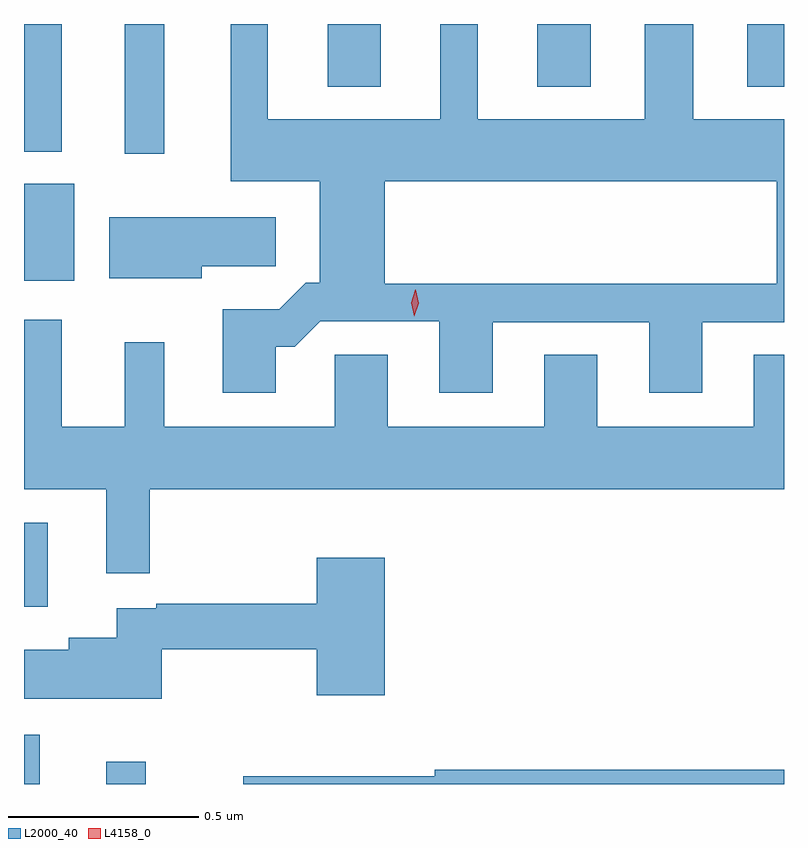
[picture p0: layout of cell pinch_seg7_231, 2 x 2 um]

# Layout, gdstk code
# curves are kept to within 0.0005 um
import gdstk
lib = gdstk.Library(unit=1e-6, precision=1e-09)
def R(c, l, rs):  # rectangles x0, y0, x1, y1
    for r in rs: c.add(gdstk.rectangle(r[:2], r[2:], *l))
def P(c, l, *ps):  # polygons
    for p in ps: c.add(gdstk.Polygon(p, *l))
L2000_40 = (2000, 40)
L4158_0 = (4158, 0)

pinch_seg7_231 = lib.new_cell('pinch_seg7_231')
R(pinch_seg7_231, L2000_40, [(640.654,1050.456,640.696,1050.586), (640.871,1050.456,640.975,1050.514), (640.654,1050.923,640.717,1051.144), (640.654,1051.781,640.786,1052.035), (640.919,1052.115,641.023,1052.456), (640.654,1052.12,640.753,1052.456), (641.453,1052.291,641.593,1052.456), (642.005,1052.291,642.145,1052.456), (642.557,1052.291,642.654,1052.456)])
P(pinch_seg7_231, L2000_40, [(641.177,1051.705),(641.177,1051.485),(641.317,1051.485),(641.317,1051.607),(641.366,1051.607),(641.433,1051.674),(641.747,1051.674),(641.747,1051.485),(641.887,1051.485),(641.887,1051.671),(642.299,1051.671),(642.299,1051.485),(642.439,1051.485),(642.439,1051.671),(642.654,1051.671),(642.654,1052.206),(642.415,1052.206),(642.415,1052.456),(642.287,1052.456),(642.287,1052.206),(641.848,1052.206),(641.848,1052.456),(641.75,1052.456),(641.75,1052.206),(641.296,1052.206),(641.296,1052.456),(641.198,1052.456),(641.198,1052.042),(641.432,1052.042),(641.432,1051.775),(641.396,1051.775),(641.393,1051.772),(641.603,1051.772),(641.603,1052.042),(642.635,1052.042),(642.635,1051.772),(641.393,1051.772),(641.326,1051.705)],
  [(641.122,1051.819),(641.317,1051.819),(641.317,1051.948),(640.878,1051.948),(640.878,1051.787),(641.122,1051.787)],
  [(640.985,1051.232),(642.654,1051.232),(642.654,1051.586),(642.575,1051.586),(642.575,1051.396),(642.163,1051.396),(642.163,1051.586),(642.023,1051.586),(642.023,1051.396),(641.611,1051.396),(641.611,1051.586),(641.472,1051.586),(641.472,1051.396),(641.023,1051.396),(641.023,1051.618),(640.919,1051.618),(640.919,1051.396),(640.753,1051.396),(640.753,1051.678),(640.654,1051.678),(640.654,1051.232),(640.871,1051.232),(640.871,1051.011),(640.985,1051.011)],
  [(641.016,1050.81),(641.425,1050.81),(641.425,1050.69),(641.603,1050.69),(641.603,1051.051),(641.425,1051.051),(641.425,1050.931),(641.002,1050.931),(641.002,1050.918),(640.898,1050.918),(640.898,1050.841),(640.772,1050.841),(640.772,1050.809),(640.654,1050.809),(640.654,1050.68),(641.016,1050.68)],
  [(642.654,1050.494),(641.735,1050.494),(641.735,1050.476),(641.231,1050.476),(641.231,1050.456),(642.654,1050.456)])
P(pinch_seg7_231, L4158_0, [(641.681,1051.687),(641.681,1051.687),(641.673,1051.722),(641.684,1051.757),(641.685,1051.757),(641.685,1051.757),(641.693,1051.721),(641.681,1051.687)])

lib.write_gds('pinch_seg7_231.gds')
